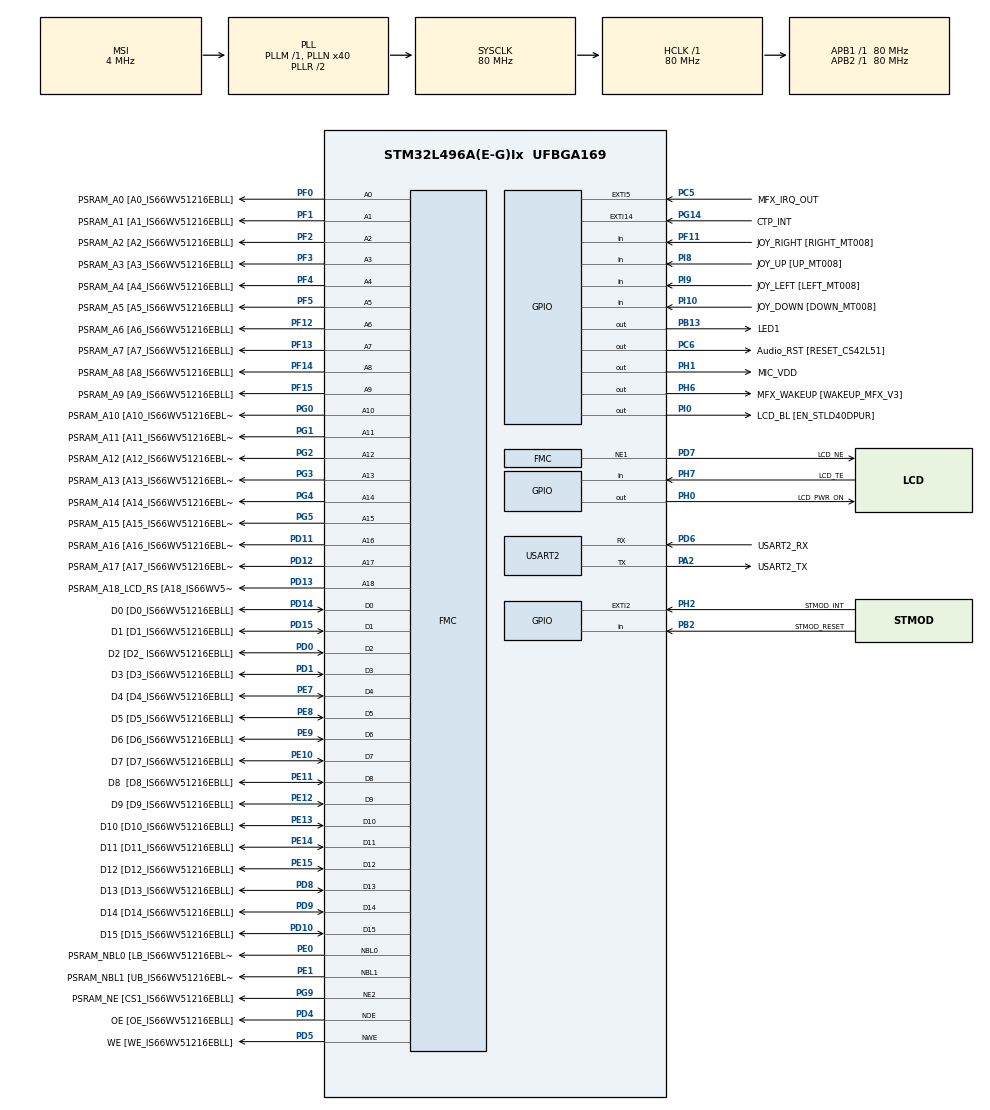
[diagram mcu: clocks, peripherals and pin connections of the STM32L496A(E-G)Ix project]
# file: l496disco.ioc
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FMC.ExtendedMode1=FMC_EXTENDED_MODE_ENABLE
FMC.ExtendedMode2=FMC_EXTENDED_MODE_ENABLE
Mcu.Family=STM32L4
Mcu.Name=STM32L496A(E-G)Ix
Mcu.Package=UFBGA169
NVIC.PriorityGroup=NVIC_PRIORITYGROUP_4
PA0.GPIO_Label=STMOD_PWM
PA0.Mode=SYS_WakeUp0
PA0.Signal=SYS_WKUP1
PA1.GPIO_Label=ARD_A4
PA1.Signal=ADCx_IN6
PA10.GPIO_Label=USB_OTGFS_ID
PA10.Signal=USB_OTG_FS_ID
PA11.GPIO_Label=USB_OTGFS_DM
PA11.Signal=USB_OTG_FS_DM
PA12.GPIO_Label=USB_OTGFS_DP
PA12.Signal=USB_OTG_FS_DP
PA13\ (JTMS/SWDIO).GPIO_Label=SWDIO
PA13\ (JTMS/SWDIO).Mode=Serial_Wire
PA13\ (JTMS/SWDIO).Signal=SYS_JTMS-SWDIO
PA14\ (JTCK/SWCLK).GPIO_Label=SWCLK
PA14\ (JTCK/SWCLK).Mode=Serial_Wire
PA14\ (JTCK/SWCLK).Signal=SYS_JTCK-SWCLK
PA15\ (JTDI).GPIO_Label=ARD_D10
PA15\ (JTDI).Signal=SPI1_NSS
PA2.GPIO_Label=USART2_TX
PA2.Mode=Asynchronous
PA2.Signal=USART2_TX
PA3.GPIO_Label=QSPI_CLK [MX25R6435FM2IL0_SCLK]
PA3.Signal=QUADSPI_CLK
PA4.GPIO_Label=STMOD_ADC
PA4.Signal=ADCx_IN9
PA5.GPIO_Label=ARD_D13
PA5.Signal=SPI1_SCK
PA6.GPIO_Label=QSPI_BK1_IO3 [MX25R6435FM2IL0_SIO3]
PA6.Signal=QUADSPI_BK1_IO3
PA7.GPIO_Label=QSPI_BK1_IO2 [MX25R6435FM2IL0_SIO2]
PA7.Signal=QUADSPI_BK1_IO2
PA8.GPIO_Label=DCMI_CLK
PA8.Signal=LPTIM2_OUT
PA9.GPIO_Label=USB_OTGFS_VBUS
PA9.Signal=USB_OTG_FS_VBUS
PB0.GPIO_Label=QSPI_BK1_IO1 [MX25R6435FM2IL0_SIO1]
PB0.Signal=QUADSPI_BK1_IO1
PB1.GPIO_Label=QSPI_BK1_IO0 [MX25R6435FM2IL0_SIO0]
PB1.Signal=QUADSPI_BK1_IO0
PB10.Signal=SAI1_SCK_A
PB11.GPIO_Label=QSPI_BK1_NCS [MX25R6435FM2IL0_CS]
PB11.Signal=QUADSPI_BK1_NCS
PB12.GPIO_Label=DFDATIN1
PB12.Signal=S_DATAIN1DFSDM1
PB13.GPIO_Label=LED1
PB13.GPIO_ModeDefaultOutputPP=GPIO_MODE_OUTPUT_OD
PB13.GPIO_PuPd=GPIO_NOPULL
PB13.Signal=GPIO_Output
PB14.GPIO_Label=I2C2_SDA [CS42L51_SDA]
PB14.GPIO_Pu=GPIO_PULLUP
PB14.Signal=I2C2_SDA
PB15.GPIO_Label=SPI2_MOSI [STMOD+_SPI]
PB15.Signal=SPI2_MOSI
PB2.GPIO_Label=STMOD_RESET
PB2.Signal=GPIO_Input
PB3\ (JTDO/TRACESWO).GPIO_Label=SWO
PB3\ (JTDO/TRACESWO).Signal=SYS_JTDO-SWO
PB4\ (NJTRST).GPIO_Label=ARD_D12
PB4\ (NJTRST).Signal=SPI1_MISO
PB5.GPIO_Label=ARD_D11
PB5.Signal=SPI1_MOSI
PB6.GPIO_Label=USART1_TX
PB6.Signal=USART1_TX
PB7.GPIO_Label=I2C1_SDA
PB7.GPIO_Pu=GPIO_PULLUP
PB7.Signal=I2C1_SDA
PB8.GPIO_Label=I2C1_SCL
PB8.GPIO_Pu=GPIO_PULLUP
PB8.Signal=I2C1_SCL
PB9.GPIO_Label=ARD_D5
PB9.Signal=S_TIM4_CH4
PC0.GPIO_Label=ARD_A5
PC0.Signal=ADCx_IN1
PC1.Signal=ADCx_IN2
PC10.GPIO_Label=uSD_D2
PC10.Signal=SDMMC1_D2
PC11.GPIO_Label=uSD_D3
PC11.Signal=SDMMC1_D3
PC12.GPIO_Label=uSD_CLK
PC12.Signal=SDMMC1_CK
PC13.GPIO_Label=JOY_SEL [Selection_MT008]
PC13.Mode=SYS_WakeUp1
PC13.Signal=SYS_WKUP2
PC14-OSC32_IN\ (PC14).Mode=LSE-External-Oscillator
PC14-OSC32_IN\ (PC14).Signal=RCC_OSC32_IN
PC15-OSC32_OUT\ (PC15).Mode=LSE-External-Oscillator
PC15-OSC32_OUT\ (PC15).Signal=RCC_OSC32_OUT
PC2.GPIO_Label=DF_CKOUT
PC2.Signal=S_CKOUTDFSDM1
PC3.GPIO_Label=ARD_A2
PC3.Signal=ADCx_IN4
PC4.GPIO_Label=ARD_A0
PC4.Signal=ADCx_IN13
PC5.GPIO_Label=MFX_IRQ_OUT
PC5.Signal=GPXTI5
PC6.GPIO_Label=Audio_RST [RESET_CS42L51]
PC6.Signal=GPIO_Output
PC7.GPIO_Label=DATIN3 [DOUT_MP34DT01TR]
PC7.Signal=S_DATAIN3DFSDM1
PC8.GPIO_Label=uSD_D0
PC8.Signal=SDMMC1_D0
PC9.GPIO_Label=uSD_D1
PC9.Signal=SDMMC1_D1
PD0.GPIO_Label=D2 [D2_ IS66WV51216EBLL]
PD0.Signal=FMC_D2_DA2
PD1.GPIO_Label=D3 [D3_IS66WV51216EBLL]
PD1.Signal=FMC_D3_DA3
PD10.GPIO_Label=D15 [D15_IS66WV51216EBLL]
PD10.Signal=FMC_D15_DA15
PD11.GPIO_Label=PSRAM_A16 [A16_IS66WV51216EBLL]
PD11.Signal=FMC_A16_CLE
PD12.GPIO_Label=PSRAM_A17 [A17_IS66WV51216EBLL]
PD12.Signal=FMC_A17_ALE
PD13.GPIO_Label=PSRAM_A18_LCD_RS [A18_IS66WV51216EBLL]
PD13.Signal=FMC_A18
PD14.GPIO_Label=D0 [D0_IS66WV51216EBLL]
PD14.Signal=FMC_D0_DA0
PD15.GPIO_Label=D1 [D1_IS66WV51216EBLL]
PD15.Signal=FMC_D1_DA1
PD2.GPIO_Label=uSD_CMD
PD2.Signal=SDMMC1_CMD
PD4.GPIO_Label=OE [OE_IS66WV51216EBLL]
PD4.Signal=FMC_NOE
PD5.GPIO_Label=WE [WE_IS66WV51216EBLL]
PD5.Signal=FMC_NWE
PD6.GPIO_Label=USART2_RX
PD6.Mode=Asynchronous
PD6.Signal=USART2_RX
PD7.GPIO_Label=LCD_NE
PD7.Mode=NorPsramChipSelect1_2
PD7.Signal=FMC_NE1
PD8.GPIO_Label=D13 [D13_IS66WV51216EBLL]
PD8.Signal=FMC_D13_DA13
PD9.GPIO_Label=D14 [D14_IS66WV51216EBLL]
PD9.Signal=FMC_D14_DA14
PE0.GPIO_Label=PSRAM_NBL0 [LB_IS66WV51216EBLL]
PE0.Signal=FMC_NBL0
PE1.GPIO_Label=PSRAM_NBL1 [UB_IS66WV51216EBLL]
PE1.Signal=FMC_NBL1
PE10.GPIO_Label=D7 [D7_IS66WV51216EBLL]
PE10.Signal=FMC_D7_DA7
PE11.GPIO_Label=D8  [D8_IS66WV51216EBLL]
PE11.Signal=FMC_D8_DA8
PE12.GPIO_Label=D9 [D9_IS66WV51216EBLL]
PE12.Signal=FMC_D9_DA9
PE13.GPIO_Label=D10 [D10_IS66WV51216EBLL]
PE13.Signal=FMC_D10_DA10
PE14.GPIO_Label=D11 [D11_IS66WV51216EBLL]
PE14.Signal=FMC_D11_DA11
PE15.GPIO_Label=D12 [D12_IS66WV51216EBLL]
PE15.Signal=FMC_D12_DA12
PE2.GPIO_Label=SAI1_MCKA [MCLK_CS42L51]
PE2.Signal=SAI1_MCLK_A
PE3.GPIO_Label=SAI1_SDB [SDOUT_CS42L51]
PE3.Signal=SAI1_SD_B
PE4.GPIO_Label=SAI1_FSA [LRCK_CS42L51]]
PE4.Signal=SAI1_FS_A
PE5.GPIO_Label=DCMI_D6
PE5.Signal=DCMI_D6
PE6.GPIO_Label=SAI1_SDA [SDIN_CS42L51]
PE6.Signal=SAI1_SD_A
PE7.GPIO_Label=D4 [D4_IS66WV51216EBLL]
PE7.Signal=FMC_D4_DA4
PE8.GPIO_Label=D5 [D5_IS66WV51216EBLL]
PE8.Signal=FMC_D5_DA5
PE9.GPIO_Label=D6 [D6_IS66WV51216EBLL]
PE9.Signal=FMC_D6_DA6
PF0.GPIO_Label=PSRAM_A0 [A0_IS66WV51216EBLL]
PF0.Signal=FMC_A0
PF1.GPIO_Label=PSRAM_A1 [A1_IS66WV51216EBLL]
PF1.Signal=FMC_A1
PF10.GPIO_Label=ARD_A3
PF10.Signal=ADC3_IN13
PF11.GPIO_Label=JOY_RIGHT [RIGHT_MT008]
PF11.GPIO_PuPd=GPIO_PULLDOWN
PF11.Signal=GPIO_Input
PF12.GPIO_Label=PSRAM_A6 [A6_IS66WV51216EBLL]
PF12.Signal=FMC_A6
PF13.GPIO_Label=PSRAM_A7 [A7_IS66WV51216EBLL]
PF13.Signal=FMC_A7
PF14.GPIO_Label=PSRAM_A8 [A8_IS66WV51216EBLL]
PF14.Signal=FMC_A8
PF15.GPIO_Label=PSRAM_A9 [A9_IS66WV51216EBLL]
PF15.Signal=FMC_A9
PF2.GPIO_Label=PSRAM_A2 [A2_IS66WV51216EBLL]
PF2.Signal=FMC_A2
PF3.GPIO_Label=PSRAM_A3 [A3_IS66WV51216EBLL]
PF3.Signal=FMC_A3
PF4.GPIO_Label=PSRAM_A4 [A4_IS66WV51216EBLL]
PF4.Signal=FMC_A4
PF5.GPIO_Label=PSRAM_A5 [A5_IS66WV51216EBLL]
PF5.Signal=FMC_A5
PG0.GPIO_Label=PSRAM_A10 [A10_IS66WV51216EBLL]
PG0.Signal=FMC_A10
PG1.GPIO_Label=PSRAM_A11 [A11_IS66WV51216EBLL]
PG1.Signal=FMC_A11
PG10.GPIO_Label=UART1_RX [STMOD+_UART]
PG10.Signal=USART1_RX
PG11.GPIO_Label=UART1_CTS [STMOD+_UART]
PG11.Signal=USART1_CTS
PG12.GPIO_Label=UART1_RTS [STMOD+_UART]
PG12.Signal=USART1_RTS
PG14.GPIO_Label=CTP_INT
PG14.Signal=GPXTI14
PG2.GPIO_Label=PSRAM_A12 [A12_IS66WV51216EBLL]
PG2.Signal=FMC_A12
PG3.GPIO_Label=PSRAM_A13 [A13_IS66WV51216EBLL]
PG3.Signal=FMC_A13
PG4.GPIO_Label=PSRAM_A14 [A14_IS66WV51216EBLL]
PG4.Signal=FMC_A14
PG5.GPIO_Label=PSRAM_A15 [A15_IS66WV51216EBLL]
PG5.Signal=FMC_A15
PG7.GPIO_Label=ARD_D1
PG7.Signal=LPUART1_TX
PG8.GPIO_Label=ARD_D0
PG8.Signal=LPUART1_RX
PG9.GPIO_Label=PSRAM_NE [CS1_IS66WV51216EBLL]
PG9.Mode=NorPsramChipSelect2_1
PG9.Signal=FMC_NE2
PH0-OSC_IN\ (PH0).GPIO_Label=LCD_PWR_ON
PH0-OSC_IN\ (PH0).Signal=GPIO_Output
PH1-OSC_OUT\ (PH1).GPIO_Label=MIC_VDD
PH1-OSC_OUT\ (PH1).Signal=GPIO_Output
PH10.GPIO_Label=DCMI_D1
PH10.Signal=DCMI_D1
PH11.GPIO_Label=DCMI_D2
PH11.Signal=DCMI_D2
PH12.GPIO_Label=DCMI_D3
PH12.Signal=DCMI_D3
PH13.GPIO_Label=ARD_D9
PH13.Signal=TIM8_CH1N
PH14.GPIO_Label=DCMI_D4
PH14.Signal=DCMI_D4
PH15.GPIO_Label=ARD_D3
PH15.Signal=TIM8_CH3N
PH2.GPIO_Label=STMOD_INT
PH2.Signal=GPXTI2
PH4.GPIO_Label=I2C2_SCL [SCL_CS42L51]
PH4.GPIO_Pu=GPIO_PULLUP
PH4.Signal=I2C2_SCL
PH5.GPIO_Label=DCMI_PIXCK
PH5.Signal=DCMI_PIXCLK
PH6.GPIO_Label=MFX_WAKEUP [WAKEUP_MFX_V3]
PH6.Signal=GPIO_Output
PH7.GPIO_Label=LCD_TE
PH7.Signal=GPIO_Input
PH8.GPIO_Label=DCMI_HSYNC
PH8.Signal=DCMI_HSYNC
PH9.GPIO_Label=DCMI_D0
PH9.Signal=DCMI_D0
PI0.GPIO_Label=LCD_BL [EN_STLD40DPUR]
PI0.Signal=GPIO_Output
PI1.GPIO_Label=SPI2_CLK [STMOD+_SPI]
PI1.Signal=SPI2_SCK
PI10.GPIO_Label=JOY_DOWN [DOWN_MT008]
PI10.GPIO_PuPd=GPIO_PULLDOWN
PI10.Signal=GPIO_Input
PI2.GPIO_Label=SPI2_MISO [STMOD+_SPI]
PI2.Signal=SPI2_MISO
PI4.GPIO_Label=DCMI_D5
PI4.Signal=DCMI_D5
PI5.GPIO_Label=DCMI_VSYNC
PI5.Signal=DCMI_VSYNC
PI6.GPIO_Label=ARD_D6
PI6.Signal=S_TIM8_CH2
PI7.GPIO_Label=DCMI_D7
PI7.Signal=DCMI_D7
PI8.GPIO_Label=JOY_UP [UP_MT008]
PI8.GPIO_PuPd=GPIO_PULLDOWN
PI8.Signal=GPIO_Input
PI9.GPIO_Label=JOY_LEFT [LEFT_MT008]
PI9.GPIO_PuPd=GPIO_PULLDOWN
PI9.Signal=GPIO_Input
ProjectManager.HeapSize=0x200
ProjectManager.StackSize=0x400
ProjectManager.TargetToolchain=CMake
RCC.ADCFreq_Value=48000000
RCC.AHBFreq_Value=80000000
RCC.APB1Freq_Value=80000000
RCC.APB1TimFreq_Value=80000000
RCC.APB2Freq_Value=80000000
RCC.APB2TimFreq_Value=80000000
RCC.CortexFreq_Value=80000000
RCC.HCLKFreq_Value=80000000
RCC.HSE_VALUE=8000000
RCC.HSI48_VALUE=48000000
RCC.HSI_VALUE=16000000
RCC.MSI_VALUE=4000000
RCC.PLLN=40
RCC.PLLSAI1N=24
RCC.SYSCLKFreq_VALUE=80000000
RCC.SYSCLKSource=RCC_SYSCLKSOURCE_PLLCLK
RCC.USBFreq_Value=48000000
RCC.VCOOutputFreq_Value=160000000
SH.ADCx_IN1.0=ADC2_IN1
SH.ADCx_IN13.0=ADC1_IN13
SH.ADCx_IN2.0=ADC2_IN2
SH.ADCx_IN4.0=ADC1_IN4
SH.ADCx_IN6.0=ADC2_IN6
SH.ADCx_IN9.0=ADC2_IN9
SH.FMC_A0.0=FMC_A0,18b-a1
SH.FMC_A1.0=FMC_A1,18b-a1
SH.FMC_A10.0=FMC_A10,18b-a1
SH.FMC_A11.0=FMC_A11,18b-a1
SH.FMC_A12.0=FMC_A12,18b-a1
SH.FMC_A13.0=FMC_A13,18b-a1
SH.FMC_A14.0=FMC_A14,18b-a1
SH.FMC_A15.0=FMC_A15,18b-a1
SH.FMC_A16_CLE.0=FMC_A16,18b-a1
SH.FMC_A17_ALE.0=FMC_A17,18b-a1
SH.FMC_A18.0=FMC_A18,A18_2
SH.FMC_A2.0=FMC_A2,18b-a1
SH.FMC_A3.0=FMC_A3,18b-a1
SH.FMC_A4.0=FMC_A4,18b-a1
SH.FMC_A5.0=FMC_A5,18b-a1
SH.FMC_A6.0=FMC_A6,18b-a1
SH.FMC_A7.0=FMC_A7,18b-a1
SH.FMC_A8.0=FMC_A8,18b-a1
SH.FMC_A9.0=FMC_A9,18b-a1
SH.FMC_D0_DA0.0=FMC_D0,16b-d1
SH.FMC_D0_DA0.1=FMC_D0,16b-d2
SH.FMC_D10_DA10.0=FMC_D10,16b-d1
SH.FMC_D10_DA10.1=FMC_D10,16b-d2
SH.FMC_D11_DA11.0=FMC_D11,16b-d1
SH.FMC_D11_DA11.1=FMC_D11,16b-d2
SH.FMC_D12_DA12.0=FMC_D12,16b-d1
SH.FMC_D12_DA12.1=FMC_D12,16b-d2
SH.FMC_D13_DA13.0=FMC_D13,16b-d1
SH.FMC_D13_DA13.1=FMC_D13,16b-d2
SH.FMC_D14_DA14.0=FMC_D14,16b-d1
SH.FMC_D14_DA14.1=FMC_D14,16b-d2
SH.FMC_D15_DA15.0=FMC_D15,16b-d1
SH.FMC_D15_DA15.1=FMC_D15,16b-d2
SH.FMC_D1_DA1.0=FMC_D1,16b-d1
SH.FMC_D1_DA1.1=FMC_D1,16b-d2
SH.FMC_D2_DA2.0=FMC_D2,16b-d1
SH.FMC_D2_DA2.1=FMC_D2,16b-d2
SH.FMC_D3_DA3.0=FMC_D3,16b-d1
SH.FMC_D3_DA3.1=FMC_D3,16b-d2
SH.FMC_D4_DA4.0=FMC_D4,16b-d1
SH.FMC_D4_DA4.1=FMC_D4,16b-d2
SH.FMC_D5_DA5.0=FMC_D5,16b-d1
SH.FMC_D5_DA5.1=FMC_D5,16b-d2
SH.FMC_D6_DA6.0=FMC_D6,16b-d1
SH.FMC_D6_DA6.1=FMC_D6,16b-d2
SH.FMC_D7_DA7.0=FMC_D7,16b-d1
SH.FMC_D7_DA7.1=FMC_D7,16b-d2
SH.FMC_D8_DA8.0=FMC_D8,16b-d1
SH.FMC_D8_DA8.1=FMC_D8,16b-d2
SH.FMC_D9_DA9.0=FMC_D9,16b-d1
SH.FMC_D9_DA9.1=FMC_D9,16b-d2
SH.FMC_NBL0.0=FMC_NBL0,2ByteEnable1
SH.FMC_NBL1.0=FMC_NBL1,2ByteEnable1
SH.FMC_NOE.0=FMC_NOE,Sram1
SH.FMC_NOE.1=FMC_NOE,Lcd2
SH.FMC_NWE.0=FMC_NWE,Sram1
SH.FMC_NWE.1=FMC_NWE,Lcd2
SH.S_CKOUTDFSDM1.0=DFSDM1_CKOUT
SH.S_CKOUTDFSDM1.1=DFSDM1_CKOUT
SH.S_DATAIN1DFSDM1.0=DFSDM1_DATIN1
SH.S_DATAIN3DFSDM1.0=DFSDM1_DATIN3
SH.S_TIM4_CH4.0=TIM4_CH4
SH.S_TIM8_CH2.0=TIM8_CH2
USART2.VirtualMode-Asynchronous=VM_ASYNC
board=STM32L496G-DISCO

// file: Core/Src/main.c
/* USER CODE BEGIN Header */
/**
  ******************************************************************************
  * @file           : main.c
  * @brief          : Main program body
  ******************************************************************************
  * @attention
  *
  * Copyright (c) 2025 STMicroelectronics.
  * All rights reserved.
  *
  * This software is licensed under terms that can be found in the LICENSE file
  * in the root directory of this software component.
  * If no LICENSE file comes with this software, it is provided AS-IS.
  *
  ******************************************************************************
  */
/* USER CODE END Header */
#include "main.h"
#include "usart.h"
#include "gpio.h"
#include "fmc.h"

/* USER CODE BEGIN Includes */
#include <stdio.h>
#include <string.h>
/* USER CODE END Includes */

void SystemClock_Config(void);

/* USER CODE BEGIN 0 */
uint8_t X[1024 * 1024] __attribute__((section(".xram")));
/* USER CODE END 0 */

int main(void)
{

  /* MCU Configuration--------------------------------------------------------*/

  /* Reset of all peripherals, Initializes the Flash interface and the Systick. */
  HAL_Init();

  /* Configure the system clock */
  SystemClock_Config();

  /* Initialize all configured peripherals */
  MX_GPIO_Init();
  MX_FMC_Init();
  MX_USART2_UART_Init();

  /* Infinite loop */
  /* USER CODE BEGIN WHILE */
  // char msg[] = "Hello\n";
  // HAL_UART_Transmit(&huart2, (uint8_t*)msg, sizeof(msg), HAL_MAX_DELAY);
  // HAL_Delay(1000);
  while (1) {
      uint32_t start_time = HAL_GetTick();
      //
      uint8_t fill, byte;
      uint32_t addr;
      for (addr = 0, fill = 0; addr < sizeof(X); addr++, fill++) {
          X[addr] = fill;
          byte = X[addr];
          if (byte != fill) Error_Handler();
      }
      //
      uint32_t elapsed_time = HAL_GetTick() - start_time;
      char time_msg[32];
      sprintf(time_msg, "test time: %lu ms\n", elapsed_time);
      HAL_UART_Transmit(&huart2, (uint8_t *)time_msg, strlen(time_msg),
                        HAL_MAX_DELAY);
    /* USER CODE END WHILE */
  }
}

void SystemClock_Config(void)
{
  RCC_OscInitTypeDef RCC_OscInitStruct = {0};
  RCC_ClkInitTypeDef RCC_ClkInitStruct = {0};

  /** Configure the main internal regulator output voltage
  */
  if (HAL_PWREx_ControlVoltageScaling(PWR_REGULATOR_VOLTAGE_SCALE1) != HAL_OK)
  {
    Error_Handler();
  }

  /** Initializes the RCC Oscillators according to the specified parameters
  * in the RCC_OscInitTypeDef structure.
  */
  RCC_OscInitStruct.OscillatorType = RCC_OSCILLATORTYPE_MSI;
  RCC_OscInitStruct.MSIState = RCC_MSI_ON;
  RCC_OscInitStruct.MSICalibrationValue = 0;
  RCC_OscInitStruct.MSIClockRange = RCC_MSIRANGE_6;
  RCC_OscInitStruct.PLL.PLLState = RCC_PLL_ON;
  RCC_OscInitStruct.PLL.PLLSource = RCC_PLLSOURCE_MSI;
  RCC_OscInitStruct.PLL.PLLM = 1;
  RCC_OscInitStruct.PLL.PLLN = 40;
  RCC_OscInitStruct.PLL.PLLP = RCC_PLLP_DIV2;
  RCC_OscInitStruct.PLL.PLLQ = RCC_PLLQ_DIV2;
  RCC_OscInitStruct.PLL.PLLR = RCC_PLLR_DIV2;
  if (HAL_RCC_OscConfig(&RCC_OscInitStruct) != HAL_OK)
  {
    Error_Handler();
  }

  /** Initializes the CPU, AHB and APB buses clocks
  */
  RCC_ClkInitStruct.ClockType = RCC_CLOCKTYPE_HCLK|RCC_CLOCKTYPE_SYSCLK
                              |RCC_CLOCKTYPE_PCLK1|RCC_CLOCKTYPE_PCLK2;
  RCC_ClkInitStruct.SYSCLKSource = RCC_SYSCLKSOURCE_PLLCLK;
  RCC_ClkInitStruct.AHBCLKDivider = RCC_SYSCLK_DIV1;
  RCC_ClkInitStruct.APB1CLKDivider = RCC_HCLK_DIV1;
  RCC_ClkInitStruct.APB2CLKDivider = RCC_HCLK_DIV1;

  if (HAL_RCC_ClockConfig(&RCC_ClkInitStruct, FLASH_LATENCY_4) != HAL_OK)
  {
    Error_Handler();
  }
}

void Error_Handler(void)
{
  /* USER CODE BEGIN Error_Handler_Debug */
  /* User can add his own implementation to report the HAL error return state */
  char msg[] = "Error_Handler()\n";
  HAL_UART_Transmit(&huart2, (uint8_t*)msg, sizeof(msg), HAL_MAX_DELAY);
  HAL_Delay(1000);
  __disable_irq();
  while (1)
  {
  }
  /* USER CODE END Error_Handler_Debug */
}
